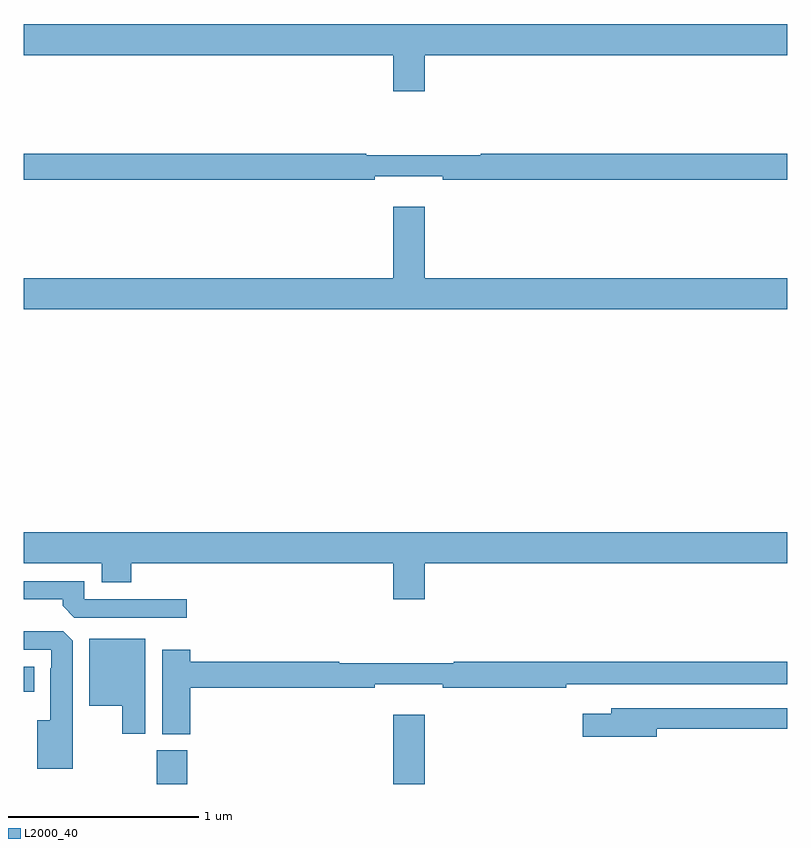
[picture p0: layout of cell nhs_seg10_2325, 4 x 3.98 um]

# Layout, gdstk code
import gdstk
lib = gdstk.Library(unit=1e-6, precision=1e-09)
def R(c, l, rs):  # rectangles x0, y0, x1, y1
    for r in rs: c.add(gdstk.rectangle(r[:2], r[2:], *l))
def P(c, l, *ps):  # polygons
    for p in ps: c.add(gdstk.Polygon(p, *l))
L2000_40 = (2000, 40)

nhs_seg10_2325 = lib.new_cell('nhs_seg10_2325')
R(nhs_seg10_2325, L2000_40, [(235.696,1292.5,235.856,1292.676), (236.936,1292.5,237.1,1292.863), (235,1292.984,235.054,1293.115)])
P(nhs_seg10_2325, L2000_40, [(237.1,1296.32),(239,1296.32),(239,1296.484),(235,1296.484),(235,1296.32),(236.936,1296.32),(236.936,1296.132),(237.1,1296.132)],
  [(236.84,1295.687),(237.196,1295.687),(237.196,1295.668),(239,1295.668),(239,1295.804),(237.394,1295.804),(237.394,1295.797),(236.794,1295.797),(236.794,1295.804),(235,1295.804),(235,1295.668),(236.84,1295.668)],
  [(239,1295.152),(237.1,1295.152),(237.1,1295.527),(236.936,1295.527),(236.936,1295.152),(235,1295.152),(235,1294.988),(239,1294.988)],
  [(237.1,1293.656),(239,1293.656),(239,1293.82),(235,1293.82),(235,1293.656),(235.409,1293.656),(235.409,1293.557),(235.562,1293.557),(235.562,1293.656),(236.936,1293.656),(236.936,1293.468),(237.1,1293.468)],
  [(235.852,1293.468),(235.317,1293.468),(235.317,1293.564),(235,1293.564),(235,1293.468),(235.202,1293.468),(235.202,1293.434),(235.263,1293.372),(235.852,1293.372)],
  [(235.255,1293.251),(235.206,1293.3),(235,1293.3),(235,1293.204),(235.143,1293.204),(235.143,1293.107),(235.139,1293.107),(235.139,1292.833),(235.07,1292.833),(235.07,1292.579),(235.255,1292.579)],
  [(235.636,1293.262),(235.343,1293.262),(235.343,1292.909),(235.514,1292.909),(235.514,1292.763),(235.636,1292.763)],
  [(235.871,1293.004),(236.84,1293.004),(236.84,1293.023),(237.196,1293.023),(237.196,1293.004),(237.842,1293.004),(237.842,1293.024),(239,1293.024),(239,1293.14),(237.254,1293.14),(237.254,1293.133),(236.654,1293.133),(236.654,1293.14),(235.871,1293.14),(235.871,1293.205),(235.724,1293.205),(235.724,1292.761),(235.871,1292.761)],
  [(238.318,1292.79),(239,1292.79),(239,1292.898),(238.079,1292.898),(238.079,1292.869),(237.93,1292.869),(237.93,1292.747),(238.318,1292.747)])

lib.write_gds('nhs_seg10_2325.gds')
